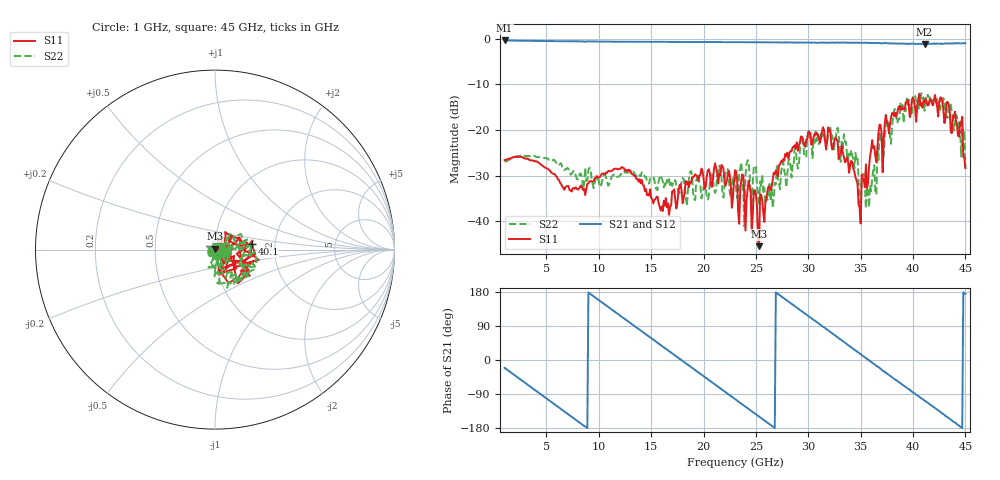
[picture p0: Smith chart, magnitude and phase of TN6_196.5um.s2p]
!Keysight Technologies,N5247B,MY61255062,A.19.80.06
!Date: Monday, May 18, 2026 12:56:59
!Correction: S11(Cdelta 2-Port  )
!S21(Cdelta 2-Port  )
!S12(Cdelta 2-Port  )
!S22(Cdelta 2-Port  )
!S2P File: Measurements: S11, S21, S12, S22:
# Hz S  dB  R 50
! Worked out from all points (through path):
!   441 points, 1 GHz to 45 GHz, reference 50 ohm
!   highest |S21| = -0.41 dB at 1 GHz (marker M1); lowest = -1.2 dB at 41.1 GHz (marker M2)
!   group delay of S21, straight-line fit = 55.9 ps
!   lowest |S11| = -45.4 dB at 25.3 GHz (marker M3), VSWR 1.01, Z = 50.1 + j0.532 ohm
!   |S11| at or under -10 dB: start of sweep to end of sweep
!   |S22| runs from -41.1 to -12.0 dB; largest |S21 - S12| = 0.013
!   S11 on the Smith chart (normalised r, x): 1 GHz: 1.10, -0.02; 40.1 GHz: 1.51, +0.10; 45 GHz: 1.07, -0.04
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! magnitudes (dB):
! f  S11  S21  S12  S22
! 1 GHz  -26.6  -0.4  -0.4  -26.9
! 8.4 GHz  -32.6  -0.6  -0.6  -30.7
! 12.2 GHz  -28.1  -0.7  -0.7  -29.2
! 15.7 GHz  -35.9  -0.7  -0.7  -31.3
! 19.8 GHz  -28.4  -0.7  -0.7  -35.0
! 23 GHz  -28.8  -0.8  -0.8  -30.0
! 23.9 GHz  -34.8  -0.8  -0.8  -41.1
! 24.2 GHz  -33.1  -0.8  -0.8  -26.6
! 25.3 GHz  -45.4  -0.8  -0.8  -36.6
! 26.6 GHz  -30.9  -0.8  -0.8  -37.1
! 27.4 GHz  -26.8  -0.9  -0.8  -29.3
! 30.4 GHz  -22.5  -0.9  -0.9  -26.2
! 32.8 GHz  -22.5  -0.9  -0.9  -19.5
! 34.3 GHz  -28.5  -0.9  -0.9  -26.3
! 34.8 GHz  -36.3  -0.9  -0.9  -30.9
! 35.7 GHz  -31.6  -0.9  -0.9  -33.3
! 37.7 GHz  -20.7  -1.0  -1.1  -18.7
! 40.1 GHz  -13.7  -1.2  -1.1  -12.2
! 41.1 GHz  -14.0  -1.2  -1.2  -15.8
! 43.3 GHz  -13.9  -1.1  -1.0  -17.4
! 44.5 GHz  -18.2  -1.0  -1.1  -20.3
! 45 GHz  -28.3  -1.0  -1.1  -28.3
